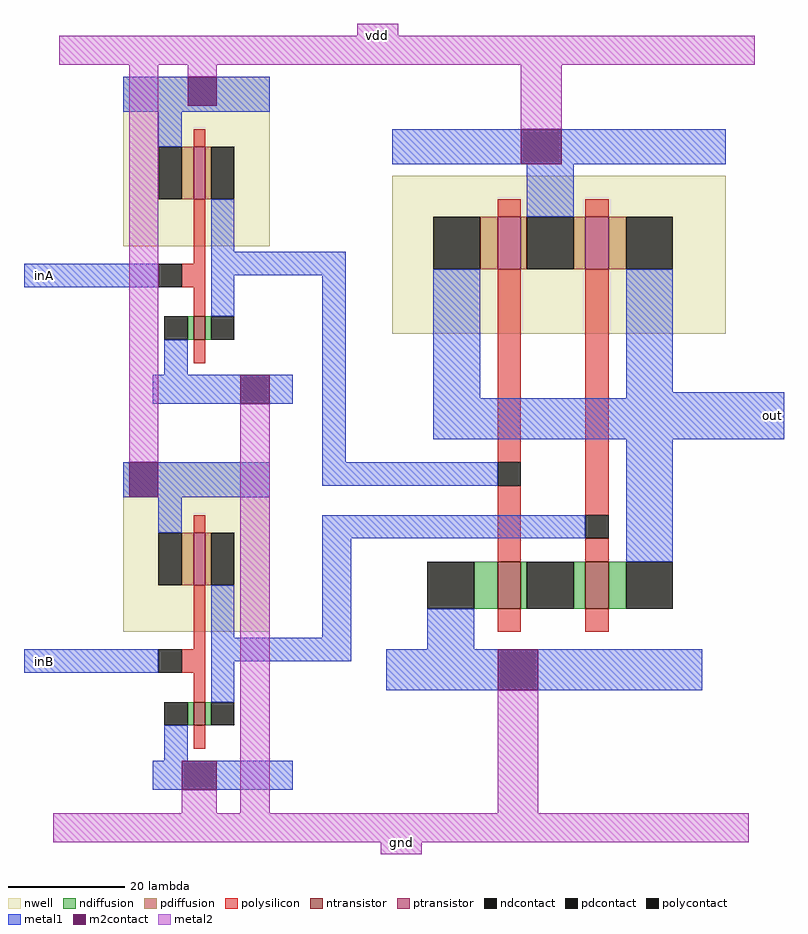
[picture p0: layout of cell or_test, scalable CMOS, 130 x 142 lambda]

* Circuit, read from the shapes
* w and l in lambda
.subckt or_test gnd inA inB out vdd
M1 n1 inB gnd VSUBS nfet w=4 l=2
M2 n2 inA gnd VSUBS nfet w=4 l=2
M3 n3 n2 gnd VSUBS nfet w=8 l=4
M4 out n1 n3 VSUBS nfet w=8 l=4
M5 n1 inB vdd n4 pfet w=9 l=2
M6 n2 inA vdd n5 pfet w=9 l=2
M7 vdd n2 out n6 pfet w=9 l=4
M8 out n1 vdd n6 pfet w=9 l=4
.ends

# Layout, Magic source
magic
tech scmos
<< metal1 >>
rect -4 95 3 99
rect 122 69 126 77
rect -4 29 3 33
<< metal2 >>
rect 53 136 60 140
rect 57 -2 64 2
use or  or_0
transform 1 0 9 0 1 75
box -9 -75 115 63
<< labels >>
rlabel metal1 -4 29 3 33 3 inB
rlabel metal1 -4 95 3 99 3 inA
rlabel metal2 53 136 60 140 5 vdd
rlabel metal2 57 -2 64 2 1 gnd
rlabel metal1 122 69 126 77 7 out
<< end >>

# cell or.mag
magic
tech scmos
<< metal1 >>
rect -9 20 1 24
rect 38 -10 42 26
rect 104 -6 115 2
rect 38 -14 52 -10
rect 38 -23 50 -19
rect -9 -46 1 -42
rect 38 -44 43 -23
<< m2contact >>
rect 15 51 20 56
rect 72 41 79 47
rect 24 0 29 5
rect 5 -16 10 -10
rect 68 -49 75 -42
rect 14 -66 20 -61
<< metal2 >>
rect -7 58 112 63
rect 5 -10 10 58
rect 15 56 20 58
rect 72 47 79 58
rect 14 -70 20 -66
rect 24 -70 29 0
rect 68 -70 75 -49
rect -8 -75 111 -70
use inverter  inverter_0
transform 1 0 4 0 1 27
box -4 -27 36 29
use inverter  inverter_1
transform 1 0 4 0 1 -39
box -4 -27 36 29
use nand  nand_0
transform 1 0 77 0 1 15
box -28 -64 30 32
<< end >>

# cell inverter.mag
magic
tech scmos
<< nwell >>
rect 0 0 25 29
<< ntransistor >>
rect 12 -16 14 -12
<< ptransistor >>
rect 12 8 14 17
<< ndiffusion >>
rect 11 -16 12 -12
rect 14 -16 15 -12
<< pdiffusion >>
rect 10 8 12 17
rect 14 8 15 17
<< ndcontact >>
rect 7 -16 11 -12
rect 15 -16 19 -12
<< pdcontact >>
rect 6 8 10 17
rect 15 8 19 17
<< polysilicon >>
rect 12 17 14 20
rect 12 -3 14 8
rect 10 -7 14 -3
rect 12 -12 14 -7
rect 12 -20 14 -16
<< polycontact >>
rect 6 -7 10 -3
<< metal1 >>
rect 0 23 25 29
rect 6 17 10 23
rect 15 -1 19 8
rect -4 -7 6 -3
rect 15 -5 36 -1
rect 15 -12 19 -5
rect 7 -22 11 -16
rect 5 -27 29 -22
<< end >>

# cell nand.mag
magic
tech scmos
<< nwell >>
rect -27 -3 30 24
<< ntransistor >>
rect -9 -50 -5 -42
rect 6 -50 10 -42
<< ptransistor >>
rect -9 8 -5 17
rect 6 8 10 17
<< ndiffusion >>
rect -13 -50 -9 -42
rect -5 -50 -4 -42
rect 4 -50 6 -42
rect 10 -50 13 -42
<< pdiffusion >>
rect -12 8 -9 17
rect -5 8 -4 17
rect 4 8 6 17
rect 10 8 13 17
<< ndcontact >>
rect -21 -50 -13 -42
rect -4 -50 4 -42
rect 13 -50 21 -42
<< pdcontact >>
rect -20 8 -12 17
rect -4 8 4 17
rect 13 8 21 17
<< polysilicon >>
rect -9 17 -5 20
rect 6 17 10 20
rect -9 -25 -5 8
rect -9 -42 -5 -29
rect 6 -34 10 8
rect 6 -42 10 -38
rect -9 -54 -5 -50
rect 6 -54 10 -50
<< polycontact >>
rect -9 -29 -5 -25
rect 6 -38 10 -34
<< metal1 >>
rect -27 26 30 32
rect -4 17 4 26
rect -20 -14 -12 8
rect 13 -13 21 8
rect 13 -14 30 -13
rect -20 -21 30 -14
rect -28 -29 -9 -25
rect -28 -38 6 -34
rect 13 -42 21 -21
rect -21 -57 -13 -50
rect -28 -64 26 -57
<< end >>
